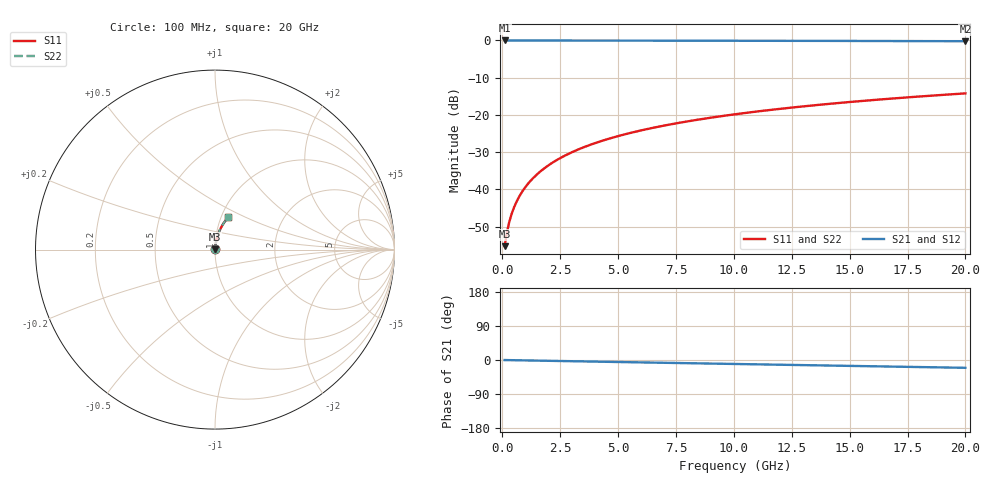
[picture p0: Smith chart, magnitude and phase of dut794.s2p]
! Touchstone file exported from HFSS 2026.1.0
!  File:  C:/ffzhzh/LocalFiles/Ansys_Project_Files/temp_train_BSMRDL_794_1783169610_43440.aedt
!  Generated:  08:54:47 PM Jul  4, 2026
!  Design:  BSMRDL
!  Project:  temp_train_BSMRDL_794_1783169610_43440
! Variables:
!  h_bsmrdl = 3.81um
!  h_ox = 20um
!  h_rdl = 5um
!  h_sub = 80um
!  h_tmrdl = 5um
!  h_tsv = 80um
!  h_via = 3um
!  l_bsmrdl = 273.04um
!  l_sub = 673.04um
!  l_tmrdl = 200um
!  m_sub = 200um
!  pitch = 47.93um
!  r_tsv = 6um
!  s_tmrdl = 10um
!  w_bsmrdl = 23.7um
!  w_sub = 500um
!  w_tmrdl = 12um
!  x_tsv_center1 = 206um
!  x_tsv_center2 = 502.74um
!  x_tsv_center3 = 714.74um
!  x_tsv_center4 = 1011.48um
!  x_tsv_center5 = 1223.48um
!  x_tsv_center6 = 1520.22um
# GHz S MA R 50.000000
! Terminal data exported
! Port[1] = BSM_RDL1_1_T1
! Port[2] = BSM_RDL1_1_T2
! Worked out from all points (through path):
!   200 points, 100 MHz to 20 GHz, reference 50 ohm
!   highest |S21| = -0.01 dB at 100 MHz (marker M1); lowest = -0.2 dB at 20 GHz (marker M2)
!   group delay of S21, straight-line fit = 2.86 ps
!   lowest |S11| = -55.2 dB at 100 MHz (marker M3), VSWR 1.00, Z = 50.1 + j0.116 ohm
!   |S11| at or under -10 dB: start of sweep to end of sweep
!   |S22| runs from -55.2 to -14.2 dB; largest |S21 - S12| = 2.6e-15
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0.1  0.001729 42.0  0.9987 -0.1  0.9987 -0.1  0.001729 42.0
! Gamma 0 0 0 0
! Port Impedance 50 0 50 0
0.2  0.00265 59.1  0.9986 -0.2  0.9986 -0.2  0.00265 59.1
0.3  0.003648 66.6  0.9986 -0.3  0.9986 -0.3  0.003648 66.6
0.4  0.004656 70.9  0.9985 -0.4  0.9985 -0.4  0.004654 70.9
0.5  0.005665 73.7  0.9985 -0.5  0.9985 -0.5  0.005663 73.7
0.6  0.006677 75.7  0.9984 -0.7  0.9984 -0.7  0.006675 75.7
0.8  0.008714 78.4  0.9984 -0.9  0.9984 -0.9  0.008712 78.4
1.1  0.0118 80.6  0.9983 -1.2  0.9983 -1.2  0.01179 80.6
1.5  0.01593 82.1  0.9981 -1.6  0.9981 -1.6  0.01593 82.1
1.8  0.01904 82.6  0.998 -1.9  0.998 -1.9  0.01904 82.6
2.1  0.02215 82.9  0.9979 -2.2  0.9979 -2.2  0.02215 82.9
2.7  0.02837 83.1  0.9976 -2.9  0.9976 -2.9  0.02837 83.1
3.5  0.03661 82.8  0.9971 -3.7  0.9971 -3.7  0.03661 82.8
4.2  0.04378 82.4  0.9966 -4.5  0.9966 -4.5  0.04378 82.4
5  0.05192 81.8  0.996 -5.3  0.996 -5.3  0.05192 81.8
5.9  0.061 81.0  0.9952 -6.2  0.9952 -6.2  0.06099 81.0
6.8  0.07 80.2  0.9943 -7.2  0.9943 -7.2  0.07 80.2
8.3  0.08484 78.8  0.9928 -8.7  0.9928 -8.7  0.08484 78.8
10.1  0.1024 77.1  0.9907 -10.6  0.9907 -10.6  0.1024 77.1
13.4  0.134 74.0  0.9862 -14.0  0.9862 -14.0  0.134 74.0
16.7  0.1647 70.8  0.981 -17.3  0.981 -17.3  0.1647 70.9
20  0.1944 67.7  0.9751 -20.6  0.9751 -20.6  0.1944 67.7
